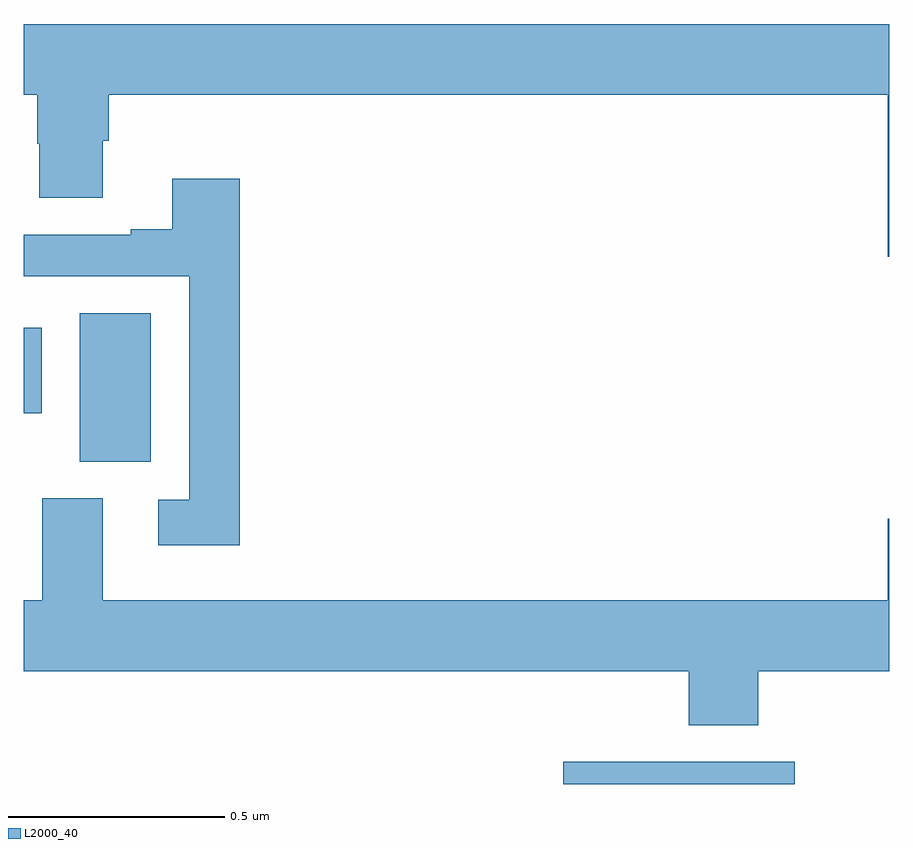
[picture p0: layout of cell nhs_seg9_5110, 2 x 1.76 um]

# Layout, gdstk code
import gdstk
lib = gdstk.Library(unit=1e-6, precision=1e-09)
def R(c, l, rs):  # rectangles x0, y0, x1, y1
    for r in rs: c.add(gdstk.rectangle(r[:2], r[2:], *l))
def P(c, l, *ps):  # polygons
    for p in ps: c.add(gdstk.Polygon(p, *l))
L2000_40 = (2000, 40)

nhs_seg9_5110 = lib.new_cell('nhs_seg9_5110')
R(nhs_seg9_5110, L2000_40, [(176.247,1189.5,176.781,1189.551), (175.13,1190.245,175.294,1190.588), (175,1190.357,175.042,1190.554)])
P(nhs_seg9_5110, L2000_40, [(177,1191.256),(175,1191.256),(175,1191.092),(175.031,1191.092),(175.031,1190.979),(175.036,1190.979),(175.036,1190.854),(175.183,1190.854),(175.183,1190.986),(175.196,1190.986),(175.196,1191.092),(176.996,1191.092),(176.996,1190.718),(177,1190.718)],
  [(175.499,1190.899),(175.343,1190.899),(175.343,1190.782),(175.247,1190.782),(175.247,1190.769),(175,1190.769),(175,1190.673),(175.383,1190.673),(175.383,1190.157),(175.311,1190.157),(175.311,1190.052),(175.499,1190.052)],
  [(176.697,1189.76),(177,1189.76),(177,1190.113),(176.996,1190.113),(176.996,1189.924),(175.183,1189.924),(175.183,1190.16),(175.043,1190.16),(175.043,1189.924),(175,1189.924),(175,1189.76),(176.537,1189.76),(176.537,1189.636),(176.697,1189.636)])

lib.write_gds('nhs_seg9_5110.gds')
